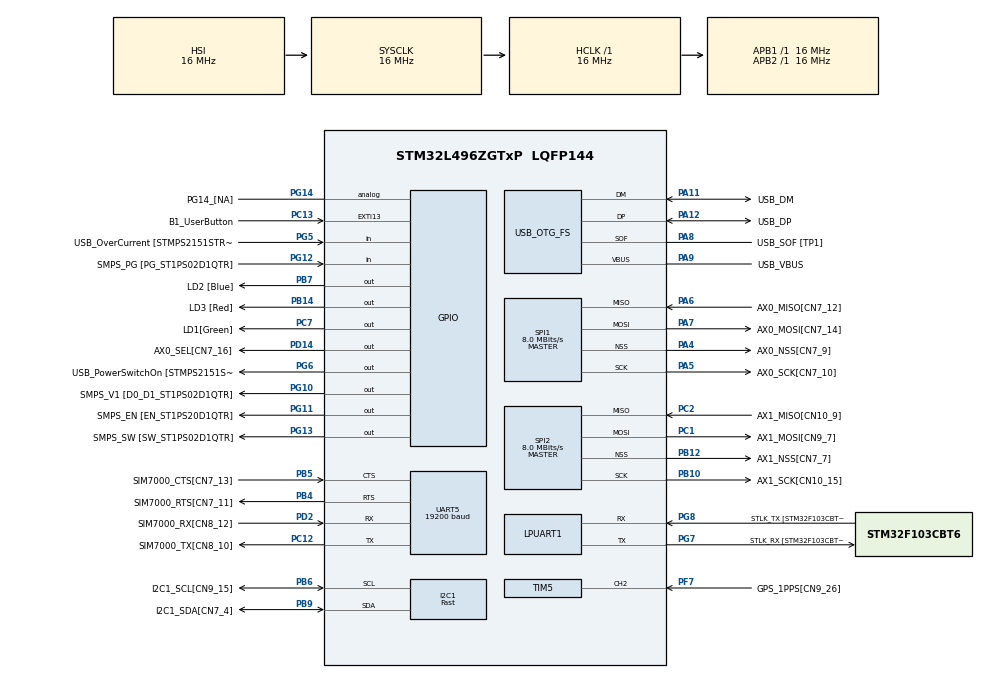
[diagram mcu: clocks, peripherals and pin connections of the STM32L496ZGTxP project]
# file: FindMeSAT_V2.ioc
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FREERTOS.INCLUDE_eTaskGetState=1
FREERTOS.INCLUDE_pcTaskGetTaskName=1
FREERTOS.INCLUDE_uxTaskGetStackHighWaterMark=1
FREERTOS.INCLUDE_vTaskCleanUpResources=1
FREERTOS.INCLUDE_vTaskDelayUntil=1
FREERTOS.INCLUDE_xEventGroupSetBitFromISR=1
FREERTOS.INCLUDE_xTaskAbortDelay=1
FREERTOS.INCLUDE_xTaskGetCurrentTaskHandle=1
FREERTOS.INCLUDE_xTaskGetHandle=1
FREERTOS.INCLUDE_xTimerPendFunctionCall=1
FREERTOS.Queues01=usbToHostQueue,64,uint8_t,0,Dynamic,NULL,NULL;usbFromHostQueue,64,uint8_t,0,Dynamic,NULL,NULL
FREERTOS.Tasks01=defaultTask,0,128,StartDefaultTask,Default,NULL,Dynamic,NULL,NULL;usbToHostTask,1,128,StartUsbToHostTask,Default,NULL,Dynamic,NULL,NULL;usbFromHostTask,1,128,StartUsbFromHostTask,Default,NULL,Dynamic,NULL,NULL
FREERTOS.configCHECK_FOR_STACK_OVERFLOW=1
FREERTOS.configENABLE_BACKWARD_COMPATIBILITY=0
FREERTOS.configGENERATE_RUN_TIME_STATS=1
FREERTOS.configTIMER_QUEUE_LENGTH=8
FREERTOS.configTOTAL_HEAP_SIZE=4500
FREERTOS.configUSE_APPLICATION_TASK_TAG=1
FREERTOS.configUSE_COUNTING_SEMAPHORES=1
FREERTOS.configUSE_MALLOC_FAILED_HOOK=1
FREERTOS.configUSE_STATS_FORMATTING_FUNCTIONS=1
FREERTOS.configUSE_TICKLESS_IDLE=0
FREERTOS.configUSE_TIMERS=1
FREERTOS.configUSE_TRACE_FACILITY=1
I2C1.I2C_Speed_Mode=I2C_Fast
I2C1.Timing=0x0010061A
Mcu.Family=STM32L4
Mcu.Name=STM32L496ZGTxP
Mcu.Package=LQFP144
NVIC.I2C1_ER_IRQn=true\:5\:0\:false\:false\:true\:true\:true
NVIC.I2C1_EV_IRQn=true\:5\:0\:false\:false\:true\:true\:true
NVIC.OTG_FS_IRQn=true\:5\:0\:false\:false\:true\:true\:true
NVIC.PriorityGroup=NVIC_PRIORITYGROUP_4
NVIC.RCC_IRQn=true\:5\:0\:false\:false\:true\:true\:true
NVIC.RTC_Alarm_IRQn=true\:0\:0\:false\:false\:true\:false\:true
NVIC.RTC_WKUP_IRQn=true\:0\:0\:false\:false\:true\:false\:true
NVIC.SPI1_IRQn=true\:5\:0\:false\:false\:true\:true\:true
NVIC.SPI2_IRQn=true\:5\:0\:false\:false\:true\:true\:true
NVIC.TIM2_IRQn=true\:0\:0\:false\:false\:true\:false\:false
NVIC.TIM5_IRQn=true\:5\:0\:false\:false\:true\:true\:true
NVIC.TimeBase=TIM2_IRQn
NVIC.TimeBaseIP=TIM2
NVIC.UART5_IRQn=true\:5\:0\:false\:false\:true\:true\:true
PA10.GPIO_Label=USB_ID
PA10.GPIO_Speed=GPIO_SPEED_FREQ_LOW
PA10.Signal=USB_OTG_FS_ID
PA11.GPIO_Label=USB_DM
PA11.Mode=Device_Only
PA11.Signal=USB_OTG_FS_DM
PA12.GPIO_Label=USB_DP
PA12.Mode=Device_Only
PA12.Signal=USB_OTG_FS_DP
PA13\ (JTMS/SWDIO).GPIO_Label=TMS
PA13\ (JTMS/SWDIO).Mode=Trace_Asynchronous_SW
PA13\ (JTMS/SWDIO).Signal=SYS_JTMS-SWDIO
PA14\ (JTCK/SWCLK).GPIO_Label=TCK
PA14\ (JTCK/SWCLK).Mode=Trace_Asynchronous_SW
PA14\ (JTCK/SWCLK).Signal=SYS_JTCK-SWCLK
PA4.GPIO_Label=AX0_NSS[CN7_9]
PA4.Mode=NSS_Signal_Hard_Output
PA4.Signal=SPI1_NSS
PA5.GPIO_Label=AX0_SCK[CN7_10]
PA5.Mode=Full_Duplex_Master
PA5.Signal=SPI1_SCK
PA6.GPIO_Label=AX0_MISO[CN7_12]
PA6.GPIO_PuPd=GPIO_PULLUP
PA6.Mode=Full_Duplex_Master
PA6.Signal=SPI1_MISO
PA7.GPIO_Label=AX0_MOSI[CN7_14]
PA7.Mode=Full_Duplex_Master
PA7.Signal=SPI1_MOSI
PA8.GPIO_Label=USB_SOF [TP1]
PA8.Mode=Activate_SOF_FS
PA8.Signal=USB_OTG_FS_SOF
PA9.GPIO_Label=USB_VBUS
PA9.Mode=Activate_VBUS
PA9.Signal=USB_OTG_FS_VBUS
PB10.GPIO_Label=AX1_SCK[CN10_15]
PB10.Mode=Full_Duplex_Master
PB10.Signal=SPI2_SCK
PB12.GPIO_Label=AX1_NSS[CN7_7]
PB12.Mode=NSS_Signal_Hard_Output
PB12.Signal=SPI2_NSS
PB14.GPIO_Label=LD3 [Red]
PB14.Signal=GPIO_Output
PB3\ (JTDO/TRACESWO).GPIO_Label=SWO
PB3\ (JTDO/TRACESWO).Mode=Trace_Asynchronous_SW
PB3\ (JTDO/TRACESWO).Signal=SYS_JTDO-SWO
PB4\ (NJTRST).GPIO_Label=SIM7000_RTS[CN7_11]
PB4\ (NJTRST).GPIO_Speed=GPIO_SPEED_FREQ_MEDIUM
PB4\ (NJTRST).Mode=CTS_RTS
PB4\ (NJTRST).Signal=UART5_RTS
PB5.GPIO_Label=SIM7000_CTS[CN7_13]
PB5.GPIO_PuPd=GPIO_PULLUP
PB5.GPIO_Speed=GPIO_SPEED_FREQ_MEDIUM
PB5.Mode=CTS_RTS
PB5.Signal=UART5_CTS
PB6.GPIO_Label=I2C1_SCL[CN9_15]
PB6.Mode=I2C
PB6.Signal=I2C1_SCL
PB7.GPIO_Label=LD2 [Blue]
PB7.Signal=GPIO_Output
PB9.GPIO_Label=I2C1_SDA[CN7_4]
PB9.Mode=I2C
PB9.Signal=I2C1_SDA
PC1.GPIO_Label=AX1_MOSI[CN9_7]
PC1.GPIO_PuPd=GPIO_NOPULL
PC1.Mode=Full_Duplex_Master
PC1.Signal=SPI2_MOSI
PC12.GPIO_Label=SIM7000_TX[CN8_10]
PC12.GPIO_Speed=GPIO_SPEED_FREQ_MEDIUM
PC12.Mode=Asynchronous
PC12.Signal=UART5_TX
PC13.GPIO_Label=B1_UserButton
PC13.Signal=GPXTI13
PC14-OSC32_IN\ (PC14).GPIO_Label=OSC32_IN
PC14-OSC32_IN\ (PC14).Mode=LSE-External-Oscillator
PC14-OSC32_IN\ (PC14).Signal=RCC_OSC32_IN
PC15-OSC32_OUT\ (PC15).GPIO_Label=OSC32_OUT
PC15-OSC32_OUT\ (PC15).Mode=LSE-External-Oscillator
PC15-OSC32_OUT\ (PC15).Signal=RCC_OSC32_OUT
PC2.GPIO_Label=AX1_MISO[CN10_9]
PC2.GPIO_PuPd=GPIO_PULLUP
PC2.Mode=Full_Duplex_Master
PC2.Signal=SPI2_MISO
PC7.GPIO_Label=LD1[Green]
PC7.Signal=GPIO_Output
PD14.GPIO_Label=AX0_SEL[CN7_16]
PD14.GPIO_Speed=GPIO_SPEED_FREQ_HIGH
PD14.PinState=GPIO_PIN_SET
PD14.Signal=GPIO_Output
PD2.GPIO_Label=SIM7000_RX[CN8_12]
PD2.GPIO_PuPd=GPIO_PULLUP
PD2.GPIO_Speed=GPIO_SPEED_FREQ_MEDIUM
PD2.Mode=Asynchronous
PD2.Signal=UART5_RX
PF7.GPIO_Label=GPS_1PPS[CN9_26]
PF7.GPIO_PuPd=GPIO_PULLUP
PF7.Signal=S_TIM5_CH2
PG10.GPIO_Label=SMPS_V1 [D0_D1_ST1PS02D1QTR]
PG10.Signal=GPIO_Output
PG11.GPIO_Label=SMPS_EN [EN_ST1PS20D1QTR]
PG11.Signal=GPIO_Output
PG12.GPIO_Label=SMPS_PG [PG_ST1PS02D1QTR]
PG12.Signal=GPIO_Input
PG13.GPIO_Label=SMPS_SW [SW_ST1PS02D1QTR]
PG13.Signal=GPIO_Output
PG14.GPIO_Label=PG14_[NA]
PG14.Signal=GPIO_Analog
PG5.GPIO_Label=USB_OverCurrent [STMPS2151STR_FAULT]
PG5.Signal=GPIO_Input
PG6.GPIO_Label=USB_PowerSwitchOn [STMPS2151STR_EN]
PG6.Signal=GPIO_Output
PG7.GPIO_Label=STLK_RX [STM32F103CBT6_PA3]
PG7.Mode=Asynchronous
PG7.Signal=LPUART1_TX
PG8.GPIO_Label=STLK_TX [STM32F103CBT6_PA2]
PG8.Mode=Asynchronous
PG8.Signal=LPUART1_RX
PH0-OSC_IN\ (PH0).GPIO_Label=MCO
PH0-OSC_IN\ (PH0).Mode=HSE-External-Clock-Source
PH0-OSC_IN\ (PH0).Signal=RCC_OSC_IN
PH1-OSC_OUT\ (PH1).Signal=RCC_OSC_OUT
ProjectManager.HeapSize=0x200
ProjectManager.StackSize=0x400
ProjectManager.TargetToolchain=TrueSTUDIO
RCC.48MHZClocksFreq_Value=24000000
RCC.ADCFreq_Value=32000000
RCC.AHBFreq_Value=16000000
RCC.APB1Freq_Value=16000000
RCC.APB1TimFreq_Value=16000000
RCC.APB2Freq_Value=16000000
RCC.APB2TimFreq_Value=16000000
RCC.CK48CLockSelection=RCC_USBCLKSOURCE_HSI48
RCC.CortexFreq_Value=16000000
RCC.HCLKFreq_Value=16000000
RCC.HSE_VALUE=0
RCC.HSI48_VALUE=48000000
RCC.HSI_VALUE=16000000
RCC.LPUART1CLockSelection=RCC_LPUART1CLKSOURCE_HSI
RCC.MSIAutoCalibration=ENABLED
RCC.MSI_VALUE=4000000
RCC.PLLM=2
RCC.PLLMUL=RCC_PLL_MUL9
RCC.PLLQ=RCC_PLLQ_DIV8
RCC.PLLSAI1Q=RCC_PLLQ_DIV8
RCC.PLLSourceVirtual=RCC_PLLSOURCE_HSI
RCC.PREFETCH_ENABLE=1
RCC.PRESCALERUSB=RCC_USBCLKSOURCE_PLL_DIV1_5
RCC.RTCClockSelection=RCC_RTCCLKSOURCE_LSE
RCC.SYSCLKFreq_VALUE=16000000
RCC.SYSCLKSource=RCC_SYSCLKSOURCE_HSI
RCC.SYSCLKSourceVirtual=RCC_SYSCLKSOURCE_PLLCLK
RCC.UART5CLockSelection=RCC_UART5CLKSOURCE_HSI
RCC.USBFreq_Value=48000000
RCC.VCOOutputFreq_Value=64000000
RTC.Alarm-Alarm\ A=RTC_ALARM_A
RTC.Format=RTC_FORMAT_BIN
RTC.Year=18
SH.S_TIM5_CH2.0=TIM5_CH2,Input_Capture2_from_TI2
SPI1.BaudRatePrescaler=SPI_BAUDRATEPRESCALER_2
SPI1.CalculateBaudRate=8.0 MBits/s
SPI1.DataSize=SPI_DATASIZE_8BIT
SPI1.Direction=SPI_DIRECTION_2LINES
SPI1.Mode=SPI_MODE_MASTER
SPI1.TIMode=SPI_TIMODE_ENABLE
SPI1.VirtualNSS=VM_NSSHARD
SPI1.VirtualType=VM_MASTER
SPI2.BaudRatePrescaler=SPI_BAUDRATEPRESCALER_2
SPI2.CalculateBaudRate=8.0 MBits/s
SPI2.DataSize=SPI_DATASIZE_8BIT
SPI2.Direction=SPI_DIRECTION_2LINES
SPI2.Mode=SPI_MODE_MASTER
SPI2.TIMode=SPI_TIMODE_ENABLE
SPI2.VirtualNSS=VM_NSSHARD
SPI2.VirtualType=VM_MASTER
TIM5.AutoReloadPreload=TIM_AUTORELOAD_PRELOAD_ENABLE
TIM5.Channel-Input_Capture2_from_TI2=TIM_CHANNEL_2
TIM5.Period=1200000000
UART5.BaudRate=19200
USB_DEVICE.CLASS_NAME_FS=CDC
USB_DEVICE.MANUFACTURER_STRING=DF4IAH Solutions
USB_DEVICE.PRODUCT_STRING_CDC_FS=FindMeSAT V2
USB_DEVICE.USBD_LPM_ENABLED=1
USB_DEVICE.USBD_SELF_POWERED=0
USB_DEVICE.USBD_SUPPORT_USER_STRING=0
USB_DEVICE.VirtualMode=Cdc
USB_DEVICE.VirtualModeFS=Cdc_FS
USB_OTG_FS.VirtualMode=Device_Only
USB_OTG_FS.battery_charging_enable=DISABLE
USB_OTG_FS.lpm_enable=ENABLE
VP_FREERTOS_VS_ENABLE.Mode=Enabled
VP_RTC_VS_RTC_Activate.Mode=RTC_Enabled
VP_RTC_VS_RTC_Alarm_A_Intern.Mode=Alarm A
VP_RTC_VS_RTC_Calendar.Mode=RTC_Calendar
VP_RTC_VS_RTC_WakeUp_intern.Mode=WakeUp
VP_SYS_VS_tim2.Mode=TIM2
VP_TIM5_VS_ClockSourceINT.Mode=Internal
VP_USB_DEVICE_VS_USB_DEVICE_CDC_FS.Mode=CDC_FS
board=NUCLEO-L496ZG-P

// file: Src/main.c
/**
  ******************************************************************************
  * @file           : main.c
  * @brief          : Main program body
  ******************************************************************************
  * This notice applies to any and all portions of this file
  * that are not between comment pairs USER CODE BEGIN and
  * USER CODE END. Other portions of this file, whether
  * inserted by the user or by software development tools
  * are owned by their respective copyright owners.
  *
  * Copyright (c) 2018 STMicroelectronics International N.V.
  * All rights reserved.
  *
  * Redistribution and use in source and binary forms, with or without
  * modification, are permitted, provided that the following conditions are met:
  *
  * 1. Redistribution of source code must retain the above copyright notice,
  *    this list of conditions and the following disclaimer.
  * 2. Redistributions in binary form must reproduce the above copyright notice,
  *    this list of conditions and the following disclaimer in the documentation
  *    and/or other materials provided with the distribution.
  * 3. Neither the name of STMicroelectronics nor the names of other
  *    contributors to this software may be used to endorse or promote products
  *    derived from this software without specific written permission.
  * 4. This software, including modifications and/or derivative works of this
  *    software, must execute solely and exclusively on microcontroller or
  *    microprocessor devices manufactured by or for STMicroelectronics.
  * 5. Redistribution and use of this software other than as permitted under
  *    this license is void and will automatically terminate your rights under
  *    this license.
  *
  * THIS SOFTWARE IS PROVIDED BY STMICROELECTRONICS AND CONTRIBUTORS "AS IS"
  * AND ANY EXPRESS, IMPLIED OR STATUTORY WARRANTIES, INCLUDING, BUT NOT
  * LIMITED TO, THE IMPLIED WARRANTIES OF MERCHANTABILITY, FITNESS FOR A
  * PARTICULAR PURPOSE AND NON-INFRINGEMENT OF THIRD PARTY INTELLECTUAL PROPERTY
  * RIGHTS ARE DISCLAIMED TO THE FULLEST EXTENT PERMITTED BY LAW. IN NO EVENT
  * SHALL STMICROELECTRONICS OR CONTRIBUTORS BE LIABLE FOR ANY DIRECT, INDIRECT,
  * INCIDENTAL, SPECIAL, EXEMPLARY, OR CONSEQUENTIAL DAMAGES (INCLUDING, BUT NOT
  * LIMITED TO, PROCUREMENT OF SUBSTITUTE GOODS OR SERVICES; LOSS OF USE, DATA,
  * OR PROFITS; OR BUSINESS INTERRUPTION) HOWEVER CAUSED AND ON ANY THEORY OF
  * LIABILITY, WHETHER IN CONTRACT, STRICT LIABILITY, OR TORT (INCLUDING
  * NEGLIGENCE OR OTHERWISE) ARISING IN ANY WAY OUT OF THE USE OF THIS SOFTWARE,
  * EVEN IF ADVISED OF THE POSSIBILITY OF SUCH DAMAGE.
  *
  ******************************************************************************
  */
#include "main.h"
#include "stm32l4xx_hal.h"
#include "cmsis_os.h"
#include "i2c.h"
#include "usart.h"
#include "rtc.h"
#include "spi.h"
#include "tim.h"
#include "usb_device.h"
#include "gpio.h"

/* USER CODE BEGIN PV */
/* Private variables ---------------------------------------------------------*/

/* USER CODE END PV */

void SystemClock_Config(void);
void MX_FREERTOS_Init(void);

/* USER CODE BEGIN PFP */
/* Private function prototypes -----------------------------------------------*/

/* USER CODE END PFP */

int main(void)
{

  /* MCU Configuration----------------------------------------------------------*/

  /* Reset of all peripherals, Initializes the Flash interface and the Systick. */
  HAL_Init();

  /* Configure the system clock */
  SystemClock_Config();

  /* Initialize all configured peripherals */
  MX_GPIO_Init();
  MX_LPUART1_UART_Init();
  MX_TIM5_Init();
  MX_SPI1_Init();
  MX_UART5_Init();
  MX_SPI2_Init();
  MX_I2C1_Init();
  MX_RTC_Init();

  /* Call init function for freertos objects (in freertos.c) */
  MX_FREERTOS_Init();

  /* Start scheduler */
  osKernelStart();

  /* We should never get here as control is now taken by the scheduler */

  /* Infinite loop */
  while (1)
  {

  }

}

void SystemClock_Config(void)
{

  RCC_OscInitTypeDef RCC_OscInitStruct;
  RCC_ClkInitTypeDef RCC_ClkInitStruct;
  RCC_PeriphCLKInitTypeDef PeriphClkInit;

    /**Configure LSE Drive Capability
    */
  HAL_PWR_EnableBkUpAccess();

  __HAL_RCC_LSEDRIVE_CONFIG(RCC_LSEDRIVE_LOW);

    /**Initializes the CPU, AHB and APB busses clocks
    */
  RCC_OscInitStruct.OscillatorType = RCC_OSCILLATORTYPE_HSI48|RCC_OSCILLATORTYPE_HSI
                              |RCC_OSCILLATORTYPE_LSE;
  RCC_OscInitStruct.LSEState = RCC_LSE_ON;
  RCC_OscInitStruct.HSIState = RCC_HSI_ON;
  RCC_OscInitStruct.HSI48State = RCC_HSI48_ON;
  RCC_OscInitStruct.HSICalibrationValue = 64;
  RCC_OscInitStruct.PLL.PLLState = RCC_PLL_NONE;
  if (HAL_RCC_OscConfig(&RCC_OscInitStruct) != HAL_OK)
  {
    _Error_Handler(__FILE__, __LINE__);
  }

    /**Initializes the CPU, AHB and APB busses clocks
    */
  RCC_ClkInitStruct.ClockType = RCC_CLOCKTYPE_HCLK|RCC_CLOCKTYPE_SYSCLK
                              |RCC_CLOCKTYPE_PCLK1|RCC_CLOCKTYPE_PCLK2;
  RCC_ClkInitStruct.SYSCLKSource = RCC_SYSCLKSOURCE_HSI;
  RCC_ClkInitStruct.AHBCLKDivider = RCC_SYSCLK_DIV1;
  RCC_ClkInitStruct.APB1CLKDivider = RCC_HCLK_DIV1;
  RCC_ClkInitStruct.APB2CLKDivider = RCC_HCLK_DIV1;

  if (HAL_RCC_ClockConfig(&RCC_ClkInitStruct, FLASH_LATENCY_0) != HAL_OK)
  {
    _Error_Handler(__FILE__, __LINE__);
  }

  PeriphClkInit.PeriphClockSelection = RCC_PERIPHCLK_RTC|RCC_PERIPHCLK_UART5
                              |RCC_PERIPHCLK_LPUART1|RCC_PERIPHCLK_I2C1
                              |RCC_PERIPHCLK_USB;
  PeriphClkInit.Uart5ClockSelection = RCC_UART5CLKSOURCE_HSI;
  PeriphClkInit.Lpuart1ClockSelection = RCC_LPUART1CLKSOURCE_HSI;
  PeriphClkInit.I2c1ClockSelection = RCC_I2C1CLKSOURCE_PCLK1;
  PeriphClkInit.RTCClockSelection = RCC_RTCCLKSOURCE_LSE;
  PeriphClkInit.UsbClockSelection = RCC_USBCLKSOURCE_HSI48;
  if (HAL_RCCEx_PeriphCLKConfig(&PeriphClkInit) != HAL_OK)
  {
    _Error_Handler(__FILE__, __LINE__);
  }

    /**Configure the main internal regulator output voltage
    */
  if (HAL_PWREx_ControlVoltageScaling(PWR_REGULATOR_VOLTAGE_SCALE1) != HAL_OK)
  {
    _Error_Handler(__FILE__, __LINE__);
  }

    /**Configure the Systick interrupt time
    */
  HAL_SYSTICK_Config(HAL_RCC_GetHCLKFreq()/1000);

    /**Configure the Systick
    */
  HAL_SYSTICK_CLKSourceConfig(SYSTICK_CLKSOURCE_HCLK);

    /**Enable MSI Auto calibration
    */
  HAL_RCCEx_EnableMSIPLLMode();

  /* SysTick_IRQn interrupt configuration */
  HAL_NVIC_SetPriority(SysTick_IRQn, 15, 0);
}

/* USER CODE BEGIN 4 */
void vAssertCalled( const char *pcFile, uint32_t ulLine)
{
	taskDISABLE_INTERRUPTS();
	for (;;) {
		__asm volatile( "nop" );
	}
}

/* USER CODE END 4 */

void HAL_TIM_PeriodElapsedCallback(TIM_HandleTypeDef *htim)
{
  if (htim->Instance == TIM2) {
    HAL_IncTick();
  }
}

void _Error_Handler(char *file, int line)
{
  /* USER CODE BEGIN Error_Handler_Debug */
  /* User can add his own implementation to report the HAL error return state */
	taskDISABLE_INTERRUPTS();
	for (;;) {
		__asm volatile( "nop" );
	}
  /* USER CODE END Error_Handler_Debug */
}

#ifdef  USE_FULL_ASSERT
/**
  * @brief  Reports the name of the source file and the source line number
  *         where the assert_param error has occurred.
  * @param  file: pointer to the source file name
  * @param  line: assert_param error line source number
  * @retval None
  */
void assert_failed(uint8_t* file, uint32_t line)
{
  /* USER CODE BEGIN 6 */
  /* User can add his own implementation to report the file name and line number,
     tex: printf("Wrong parameters value: file %s on line %d\r\n", file, line) */

	taskDISABLE_INTERRUPTS();
	for (;;) {
		__asm volatile( "nop" );
	}
  /* USER CODE END 6 */
}
#endif /* USE_FULL_ASSERT */

/************************ (C) COPYRIGHT STMicroelectronics *****END OF FILE****/

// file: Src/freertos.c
/**
  ******************************************************************************
  * File Name          : freertos.c
  * Description        : Code for freertos applications
  ******************************************************************************
  * This notice applies to any and all portions of this file
  * that are not between comment pairs USER CODE BEGIN and
  * USER CODE END. Other portions of this file, whether
  * inserted by the user or by software development tools
  * are owned by their respective copyright owners.
  *
  * Copyright (c) 2018 STMicroelectronics International N.V.
  * All rights reserved.
  *
  * Redistribution and use in source and binary forms, with or without
  * modification, are permitted, provided that the following conditions are met:
  *
  * 1. Redistribution of source code must retain the above copyright notice,
  *    this list of conditions and the following disclaimer.
  * 2. Redistributions in binary form must reproduce the above copyright notice,
  *    this list of conditions and the following disclaimer in the documentation
  *    and/or other materials provided with the distribution.
  * 3. Neither the name of STMicroelectronics nor the names of other
  *    contributors to this software may be used to endorse or promote products
  *    derived from this software without specific written permission.
  * 4. This software, including modifications and/or derivative works of this
  *    software, must execute solely and exclusively on microcontroller or
  *    microprocessor devices manufactured by or for STMicroelectronics.
  * 5. Redistribution and use of this software other than as permitted under
  *    this license is void and will automatically terminate your rights under
  *    this license.
  *
  * THIS SOFTWARE IS PROVIDED BY STMICROELECTRONICS AND CONTRIBUTORS "AS IS"
  * AND ANY EXPRESS, IMPLIED OR STATUTORY WARRANTIES, INCLUDING, BUT NOT
  * LIMITED TO, THE IMPLIED WARRANTIES OF MERCHANTABILITY, FITNESS FOR A
  * PARTICULAR PURPOSE AND NON-INFRINGEMENT OF THIRD PARTY INTELLECTUAL PROPERTY
  * RIGHTS ARE DISCLAIMED TO THE FULLEST EXTENT PERMITTED BY LAW. IN NO EVENT
  * SHALL STMICROELECTRONICS OR CONTRIBUTORS BE LIABLE FOR ANY DIRECT, INDIRECT,
  * INCIDENTAL, SPECIAL, EXEMPLARY, OR CONSEQUENTIAL DAMAGES (INCLUDING, BUT NOT
  * LIMITED TO, PROCUREMENT OF SUBSTITUTE GOODS OR SERVICES; LOSS OF USE, DATA,
  * OR PROFITS; OR BUSINESS INTERRUPTION) HOWEVER CAUSED AND ON ANY THEORY OF
  * LIABILITY, WHETHER IN CONTRACT, STRICT LIABILITY, OR TORT (INCLUDING
  * NEGLIGENCE OR OTHERWISE) ARISING IN ANY WAY OUT OF THE USE OF THIS SOFTWARE,
  * EVEN IF ADVISED OF THE POSSIBILITY OF SUCH DAMAGE.
  *
  ******************************************************************************
  */

#include "FreeRTOS.h"
#include "task.h"
#include "cmsis_os.h"

/* USER CODE BEGIN Includes */
#include <stddef.h>
#include <sys/_stdint.h>
#include <stdio.h>
#include <usbd_cdc_if.h>
#include "stm32l4xx_nucleo_144.h"
#include "stm32l4xx_hal.h"
#include "usb.h"

/* USER CODE END Includes */

osThreadId defaultTaskHandle;
osThreadId usbToHostTaskHandle;
osThreadId usbFromHostTaskHandle;
osMessageQId usbToHostQueueHandle;
osMessageQId usbFromHostQueueHandle;

/* USER CODE BEGIN Variables */
/* Private typedef -----------------------------------------------------------*/
/* Private define ------------------------------------------------------------*/
/* Private macro -------------------------------------------------------------*/
/* Private variables ---------------------------------------------------------*/
static GPIO_InitTypeDef  GPIO_InitStruct;
volatile uint32_t	g_timer_us = 0;
volatile uint32_t	g_timerStart_us = 0;
extern uint8_t		usbFromHostISRBuf[64];
extern uint32_t		usbFromHostISRBufLen;

/* USER CODE END Variables */

void StartDefaultTask(void const * argument);
void StartUsbToHostTask(void const * argument);
void StartUsbFromHostTask(void const * argument);

extern void MX_USB_DEVICE_Init(void);
void MX_FREERTOS_Init(void); /* (MISRA C 2004 rule 8.1) */

/* Hook prototypes */
void configureTimerForRunTimeStats(void);
unsigned long getRunTimeCounterValue(void);
void vApplicationStackOverflowHook(TaskHandle_t xTask, signed char *pcTaskName);
void vApplicationMallocFailedHook(void);

/* USER CODE BEGIN 1 */
/* Functions needed when configGENERATE_RUN_TIME_STATS is on */
__weak void configureTimerForRunTimeStats(void)
{
	getRunTimeCounterValue();
	g_timerStart_us = g_timer_us;
}

__weak unsigned long getRunTimeCounterValue(void)
{
	uint64_t timer_us = HAL_GetTick() & 0x003fffffUL;  // avoid overflows
	timer_us *= 1000UL;
	timer_us += TIM2->CNT;
	g_timer_us = timer_us;
	return timer_us - g_timerStart_us;
}
/* USER CODE END 1 */

/* USER CODE BEGIN 4 */
__weak void vApplicationStackOverflowHook(TaskHandle_t xTask, signed char *pcTaskName)
{
   /* Run time stack overflow checking is performed if
   configCHECK_FOR_STACK_OVERFLOW is defined to 1 or 2. This hook function is
   called if a stack overflow is detected. */
}
/* USER CODE END 4 */

/* USER CODE BEGIN 5 */
__weak void vApplicationMallocFailedHook(void)
{
   /* vApplicationMallocFailedHook() will only be called if
   configUSE_MALLOC_FAILED_HOOK is set to 1 in FreeRTOSConfig.h. It is a hook
   function that will get called if a call to pvPortMalloc() fails.
   pvPortMalloc() is called internally by the kernel whenever a task, queue,
   timer or semaphore is created. It is also called by various parts of the
   demo application. If heap_1.c or heap_2.c are used, then the size of the
   heap available to pvPortMalloc() is defined by configTOTAL_HEAP_SIZE in
   FreeRTOSConfig.h, and the xPortGetFreeHeapSize() API function can be used
   to query the size of free heap space that remains (although it does not
   provide information on how the remaining heap might be fragmented). */
}
/* USER CODE END 5 */

/* Init FreeRTOS */

void MX_FREERTOS_Init(void) {

  /* Create the thread(s) */
  /* definition and creation of defaultTask */
  osThreadDef(defaultTask, StartDefaultTask, osPriorityNormal, 0, 128);
  defaultTaskHandle = osThreadCreate(osThread(defaultTask), NULL);

  /* definition and creation of usbToHostTask */
  osThreadDef(usbToHostTask, StartUsbToHostTask, osPriorityAboveNormal, 0, 128);
  usbToHostTaskHandle = osThreadCreate(osThread(usbToHostTask), NULL);

  /* definition and creation of usbFromHostTask */
  osThreadDef(usbFromHostTask, StartUsbFromHostTask, osPriorityAboveNormal, 0, 128);
  usbFromHostTaskHandle = osThreadCreate(osThread(usbFromHostTask), NULL);

  /* Create the queue(s) */
  /* definition and creation of usbToHostQueue */
  osMessageQDef(usbToHostQueue, 64, uint8_t);
  usbToHostQueueHandle = osMessageCreate(osMessageQ(usbToHostQueue), NULL);

  /* definition and creation of usbFromHostQueue */
  osMessageQDef(usbFromHostQueue, 64, uint8_t);
  usbFromHostQueueHandle = osMessageCreate(osMessageQ(usbFromHostQueue), NULL);

}

/* StartDefaultTask function */
void StartDefaultTask(void const * argument)
{
  /* init code for USB_DEVICE */
  MX_USB_DEVICE_Init();

  /* USER CODE BEGIN StartDefaultTask */
  unsigned char buf[32] = { 0 };
  strcpy((char*) buf, "+\r\n");

  /* -1- Enable GPIO Clock (to be able to program the configuration registers) */
  LED1_GPIO_CLK_ENABLE();  // Green
  LED2_GPIO_CLK_ENABLE();  // Blue
  LED3_GPIO_CLK_ENABLE();  // Red

  /* -2- Configure IO in output push-pull mode to drive external LEDs */
  GPIO_InitStruct.Mode = GPIO_MODE_OUTPUT_PP;
  GPIO_InitStruct.Pull = GPIO_PULLUP;
  GPIO_InitStruct.Speed = GPIO_SPEED_FREQ_VERY_HIGH;

  GPIO_InitStruct.Pin = LED1_PIN;
  HAL_GPIO_Init(LED1_GPIO_PORT, &GPIO_InitStruct);
  GPIO_InitStruct.Pin = LED2_PIN;
  HAL_GPIO_Init(LED2_GPIO_PORT, &GPIO_InitStruct);
  GPIO_InitStruct.Pin = LED3_PIN;
  HAL_GPIO_Init(LED3_GPIO_PORT, &GPIO_InitStruct);

  /* Infinite loop */
  for(;;)
  {
    snprintf((char*) (buf + 1), sizeof(buf), " %010ld\r\n", getRunTimeCounterValue());
	usbToHost(buf, strlen((char*) buf));
  }
  /* USER CODE END StartDefaultTask */
}

/* StartUsbToHostTask function */
void StartUsbToHostTask(void const * argument)
{
  /* USER CODE BEGIN StartUsbToHostTask */
	uint8_t buf[32];
	uint8_t bufCtr = 0;

	/* Clear queue */
	while (uxQueueMessagesWaiting(usbToHostQueueHandle) == pdPASS) {
	}

	/* DEBUG */
	HAL_GPIO_WritePin(LED3_GPIO_PORT, LED3_PIN, GPIO_PIN_RESET);						// Red off

	/* Infinite loop */
	for(;;)
	{
		BaseType_t	xStatus;
		uint8_t		inChr = 0;

	    /* Take next character from the queue*/
		HAL_GPIO_WritePin(LED1_GPIO_PORT, LED1_PIN, GPIO_PIN_RESET);					// Green off
		xStatus = xQueueReceive(usbToHostQueueHandle, &inChr, 100 / portTICK_PERIOD_MS);
		HAL_GPIO_WritePin(LED1_GPIO_PORT, LED1_PIN, GPIO_PIN_SET);						// Green on

		if (pdPASS == xStatus) {
			if (inChr && (bufCtr < (sizeof(buf) - 1))) {
				buf[bufCtr++] = inChr;

			} else {
				uint8_t cnt;

				/* Do not send empty buffer */
				if (!bufCtr) {
					continue;
				}

				buf[bufCtr] = 0;
				for (cnt = 50; cnt; cnt--) {
					uint8_t ucRetVal = CDC_Transmit_FS(buf, bufCtr);
					if (USBD_BUSY != ucRetVal) {
						/* Data accepted for transmission */
						bufCtr = 0;
						HAL_GPIO_WritePin(LED3_GPIO_PORT, LED3_PIN, GPIO_PIN_RESET);	// Red off
						break;

					} else {
						/* USB EP busy - try again */
						HAL_GPIO_WritePin(LED3_GPIO_PORT, LED3_PIN, GPIO_PIN_SET);		// Red on

						/* Delay for next USB packet to come and go */
						osDelay(1);
					}
				}

				if (!cnt) {
					/* USB EP still busy - drop whole buffer content */
					bufCtr = 0;
					HAL_GPIO_WritePin(LED3_GPIO_PORT, LED3_PIN, GPIO_PIN_SET);			// Red on
				}
			}
		}
	}
  /* USER CODE END StartUsbToHostTask */
}

/* StartUsbFromHostTask function */
void StartUsbFromHostTask(void const * argument)
{
	/* USER CODE BEGIN StartUsbFromHostTask */
	const uint8_t nulBuf[1] = { 0 };

	/* DEBUG */
	HAL_GPIO_WritePin(LED2_GPIO_PORT, LED2_PIN, GPIO_PIN_RESET);	// Blue off

	/* Infinite loop */
	for(;;)
	{
		if (usbFromHostISRBufLen) {
			/* USB OUT EP from host put data into the buffer */
			uint8_t* bufPtr = usbFromHostISRBuf;
			for (BaseType_t idx = 0; idx < usbFromHostISRBufLen; idx++, bufPtr++) {
				xQueueSendToBack(usbFromHostQueueHandle, bufPtr, 0);
			}
			xQueueSendToBack(usbFromHostQueueHandle, nulBuf, 0);

			memset((char*) usbFromHostISRBufLen, 0, sizeof(usbFromHostISRBufLen));
			__asm volatile( "" );  // schedule barrier
			usbFromHostISRBufLen = 0;

		} else {
			/* Delay for the next attempt */
			HAL_GPIO_WritePin(LED2_GPIO_PORT, LED2_PIN, GPIO_PIN_RESET);	// Blue off
			osDelay(25);
			HAL_GPIO_WritePin(LED2_GPIO_PORT, LED2_PIN, GPIO_PIN_SET);		// Blue on
		}
	}
	/* USER CODE END StartUsbFromHostTask */
}

/************************ (C) COPYRIGHT STMicroelectronics *****END OF FILE****/
